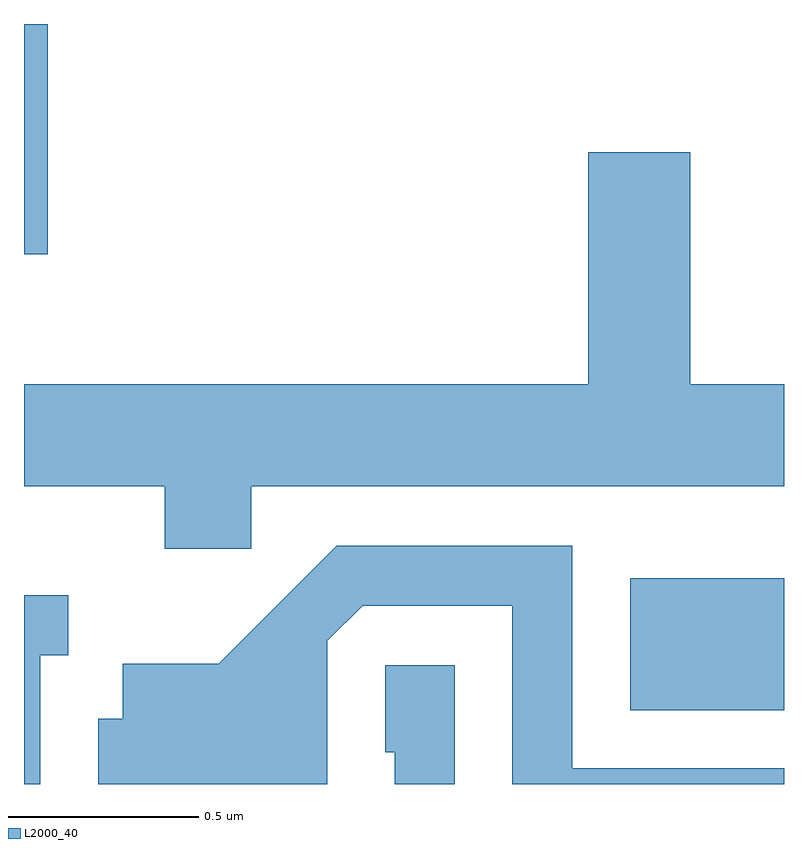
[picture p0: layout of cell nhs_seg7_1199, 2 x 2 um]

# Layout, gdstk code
import gdstk
lib = gdstk.Library(unit=1e-6, precision=1e-09)
def R(c, l, rs):  # rectangles x0, y0, x1, y1
    for r in rs: c.add(gdstk.rectangle(r[:2], r[2:], *l))
def P(c, l, *ps):  # polygons
    for p in ps: c.add(gdstk.Polygon(p, *l))
L2000_40 = (2000, 40)

nhs_seg7_1199 = lib.new_cell('nhs_seg7_1199')
R(nhs_seg7_1199, L2000_40, [(195.206,1771.446,195.611,1771.794), (193.611,1772.646,193.674,1773.252)])
P(nhs_seg7_1199, L2000_40, [(194.209,1772.036),(195.611,1772.036),(195.611,1772.304),(195.364,1772.304),(195.364,1772.914),(195.096,1772.914),(195.096,1772.304),(193.611,1772.304),(193.611,1772.036),(193.981,1772.036),(193.981,1771.871),(194.209,1771.871)],
  [(194.409,1771.629),(194.502,1771.721),(194.896,1771.721),(194.896,1771.252),(195.611,1771.252),(195.611,1771.294),(195.054,1771.294),(195.054,1771.879),(194.434,1771.879),(194.124,1771.569),(193.871,1771.569),(193.871,1771.424),(193.806,1771.424),(193.806,1771.252),(194.409,1771.252)],
  [(193.654,1771.591),(193.728,1771.591),(193.728,1771.749),(193.611,1771.749),(193.611,1771.252),(193.654,1771.252)],
  [(194.744,1771.564),(194.561,1771.564),(194.561,1771.336),(194.586,1771.336),(194.586,1771.252),(194.744,1771.252)])

lib.write_gds('nhs_seg7_1199.gds')
